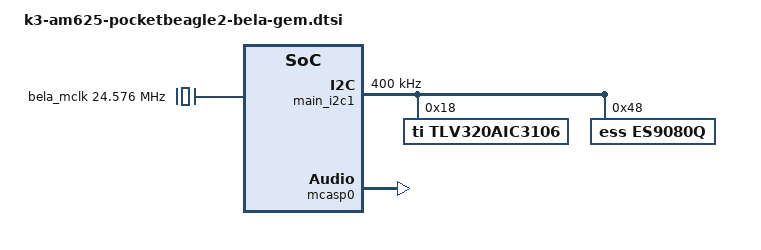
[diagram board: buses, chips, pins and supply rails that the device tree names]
// SPDX-License-Identifier: GPL-2.0-only
/*
 * Bela Gem Audio Cape - PocketBeagle 2 (AM6254)
 *
 * Finalized bring-up values from Bela Gem Multi references:
 * - Audio control I2C on main_i2c1 (AUD_SCL/AUD_SDA path)
 * - McASP0 serializers: AXR0=RX, AXR3=TX(AIC), AXR2=TX(ES9080Q)
 * - 16-slot, 32-bit TDM framing
 *
 * Note on reset:
 * GemMulti reset net is routed to board RESET# domain (RESETN), not a
 * dedicated software GPIO line for ES9080Q. Therefore reset-gpios is not
 * declared here.
 */
/dts-v1/;
/plugin/;

#include <dt-bindings/pinctrl/k3.h>

/* Validation MCLK reference for machine driver sysclk setup */
&{/} {
	bela_mclk: bela-mclk {
		compatible = "fixed-clock";
		#clock-cells = <0>;
		clock-frequency = <24576000>;
	};
};

&main_pmx0 {
	bela_gem_audio_pins: bela-gem-audio-pins {
		pinctrl-single,pins = <
			/* AXR0  RX  <- AIC capture */
			AM62X_IOPAD(0x01A0, PIN_INPUT  | MUX_MODE0)
			/* AFSX FS  <- AIC master */
			AM62X_IOPAD(0x01A8, PIN_INPUT  | MUX_MODE0)
			/* AFSR FS  <- optional separate RX FS */
			AM62X_IOPAD(0x01AC, PIN_INPUT  | MUX_MODE0)
			/* ACLKR BCLK <- AIC master */
			AM62X_IOPAD(0x01B0, PIN_INPUT  | MUX_MODE0)
			/* AXR3 TX -> AIC playback (slots 0-1) */
			AM62X_IOPAD(0x0194, PIN_OUTPUT | MUX_MODE0)
			/* AXR2 TX -> ES9080Q playback (slots 2-9) */
			AM62X_IOPAD(0x0198, PIN_OUTPUT | MUX_MODE0)
		>;
	};

	/* PB2 I2C1 on audio-control pins (P1.33/P1.36A) */
	bela_gem_i2c1_pins: bela-gem-i2c1-pins {
		pinctrl-single,pins = <
			AM62X_IOPAD(0x01EC, PIN_INPUT | PULL_UP | MUX_MODE0) /* I2C1_SDA */
			AM62X_IOPAD(0x01E8, PIN_INPUT | PULL_UP | MUX_MODE0) /* I2C1_SCL */
		>;
	};
};

&main_i2c1 {
	#address-cells = <1>;
	#size-cells = <0>;
	status = "okay";
	clock-frequency = <400000>;
	pinctrl-names = "default";
	pinctrl-0 = <&bela_gem_i2c1_pins>;

	tlv320aic3106: codec@18 {
		compatible = "ti,tlv320aic3106";
		reg = <0x18>;
		#sound-dai-cells = <0>;
	};

	es9080q: dac@48 {
		compatible = "ess,es9080q";
		reg = <0x48>;
		#sound-dai-cells = <0>;
		write-only-addr = <0x4c>;
	};
};

&mcasp0 {
	#sound-dai-cells = <0>;
	pinctrl-names = "default";
	pinctrl-0 = <&bela_gem_audio_pins>;
	status = "okay";

	op-mode = <0>;
	tdm-slots = <16>;
	num-serializer = <16>;
	serial-dir = <
		2 0 1 1
		0 0 0 0
		0 0 0 0
		0 0 0 0
	>;

	tx-num-evt = <32>;
	rx-num-evt = <32>;
};

&{/} {
	sound_gem_multi: sound {
		compatible = "bela,audio-cape";
		model = "Bela Gem Multi PB2";

		cpu-dai = <&mcasp0>;
		aic3104-codec = <&tlv320aic3106>;
		es9080q-codec = <&es9080q>;

		clocks = <&bela_mclk>;
		clock-names = "mclk";

		audio-routing =
			"Headphone Jack",   "HPLOUT",
			"Headphone Jack",   "HPROUT",
			"AIC3104 Line Out", "LLOUT",
			"AIC3104 Line Out", "RLOUT",
			"LINE1L",           "Line In",
			"LINE1R",           "Line In",
			"DAC Out 1",        "OUT1",
			"DAC Out 2",        "OUT2",
			"DAC Out 3",        "OUT3",
			"DAC Out 4",        "OUT4",
			"DAC Out 5",        "OUT5",
			"DAC Out 6",        "OUT6",
			"DAC Out 7",        "OUT7",
			"DAC Out 8",        "OUT8";
	};
};
